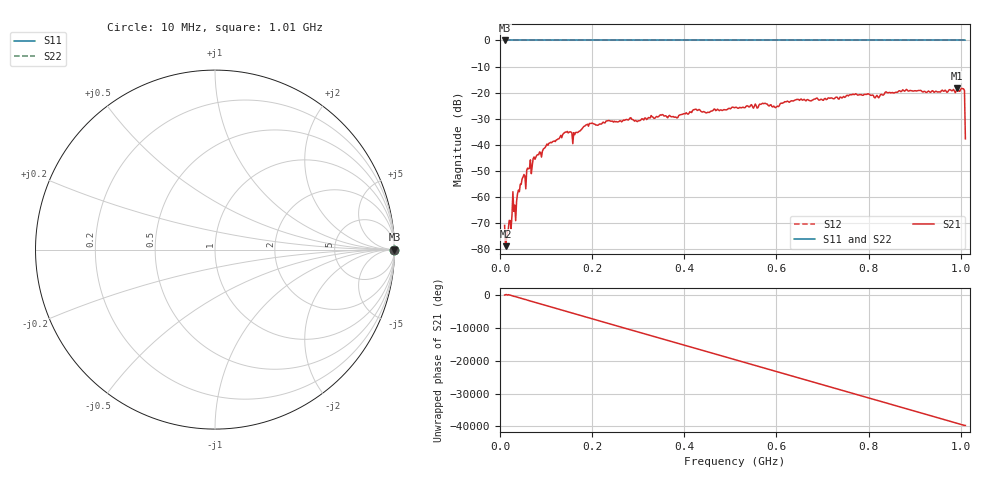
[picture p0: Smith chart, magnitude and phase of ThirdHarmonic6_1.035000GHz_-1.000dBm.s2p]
! 8/16/2025 8:54:27 AM
! C:\ANRITSUVNA\TEMP\TEMP.S2P
! CHANNEL.1
! TR.MEASUREMENT
! RAW.DATA
! RF.CORRECTION.OFF
! AVERAGING.OFF
! IF.BANDWIDTH: 5KHZ
! SWEEPTYPE:  FREQ.SWEEP(Linear)
! Reference Plane Port Info
! PORT:  PORT1  PORT2
! DISTANCE:  0  m  0  m
! TIME:  0  s  0  s
! PHASE.OFFSET:  0  deg.  0  deg.
! LOSS:  0  dB  0  dB
! REF.LOSS:  0  dB  0  dB
! REF.FREQ:  0  Hz  0  Hz
! Power Info
! POWER:  -20  dBm  -20  dBm
! EFF.POWER:  -20  dBm  -20  dBm
! SOURCE.ATTEN:  0  dB  0  dB
! TEST.ATTEN:  0  dB  0  dB
# GHZ S RI R 50.0
! FREQ.GHZ  S11RE  S11IM  S21RE  S21IM  S12RE  S12IM  S22RE  S22IM
!; PortSelection: Port_12
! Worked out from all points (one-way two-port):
!   501 points, 10 MHz to 1.01 GHz, reference 50 ohm
!   highest |S21| = -18.33 dB at 992 MHz (marker M1); lowest = -78.9 dB at 12 MHz (marker M2)
!   lowest |S11| = 0.0 dB at 10 MHz (marker M3)
!   |S11| at or under -10 dB: nowhere
!   |S22| runs from 0.0 to 0.0 dB; largest |S21 - S12| = 1.1
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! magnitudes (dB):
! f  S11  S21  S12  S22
! 10 MHz  0.0  -70.9  0.0  0.0
! 12 MHz  0.0  -78.9  0.0  0.0
! 16 MHz  0.0  -73.2  0.0  0.0
! 24 MHz  0.0  -72.2  0.0  0.0
! 34 MHz  0.0  -69.1  0.0  0.0
! 48 MHz  0.0  -53.1  0.0  0.0
! 76 MHz  0.0  -45.5  0.0  0.0
! 142 MHz  0.0  -35.1  0.0  0.0
! 162 MHz  0.0  -36.1  0.0  0.0
! 178 MHz  0.0  -33.9  0.0  0.0
! 198 MHz  0.0  -31.8  0.0  0.0
! 344 MHz  0.0  -29.2  0.0  0.0
! 382 MHz  0.0  -29.4  0.0  0.0
! 510 MHz  0.0  -25.8  0.0  0.0
! 572 MHz  0.0  -24.2  0.0  0.0
! 600 MHz  0.0  -25.4  0.0  0.0
! 620 MHz  0.0  -23.5  0.0  0.0
! 678 MHz  0.0  -22.8  0.0  0.0
! 844 MHz  0.0  -20.0  0.0  0.0
! 992 MHz  0.0  -18.3  0.0  0.0
! 1.004 GHz  0.0  -18.5  0.0  0.0
! 1.01 GHz  0.0  -37.7  0.0  0.0
